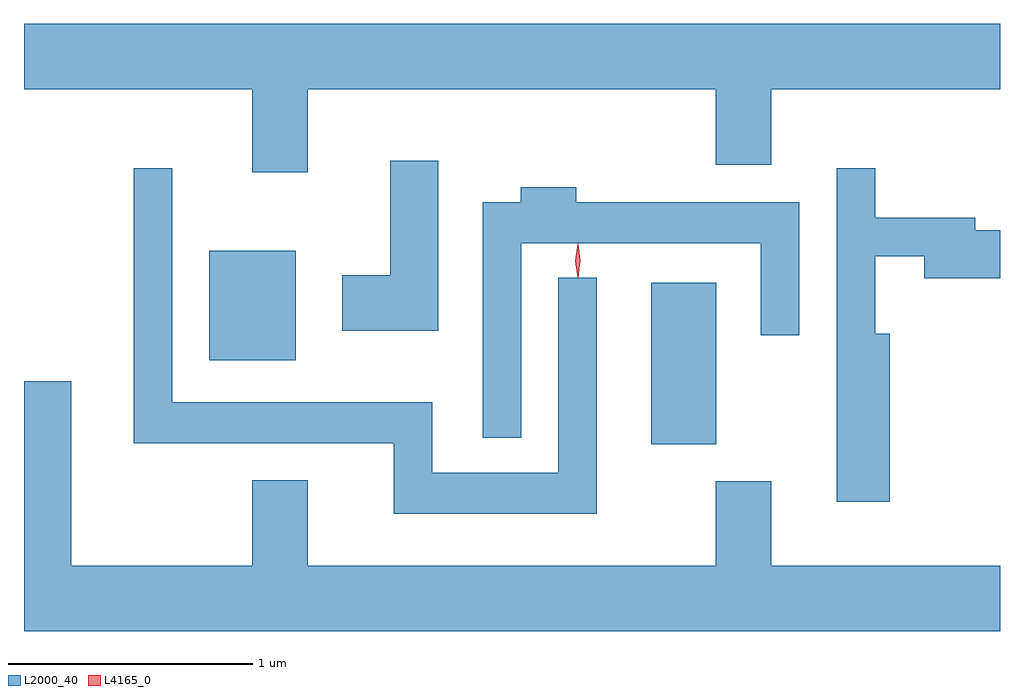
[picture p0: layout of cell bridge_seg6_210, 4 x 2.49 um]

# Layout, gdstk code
import gdstk
lib = gdstk.Library(unit=1e-6, precision=1e-09)
def R(c, l, rs):  # rectangles x0, y0, x1, y1
    for r in rs: c.add(gdstk.rectangle(r[:2], r[2:], *l))
def P(c, l, *ps):  # polygons
    for p in ps: c.add(gdstk.Polygon(p, *l))
L2000_40 = (2000, 40)
L4165_0 = (4165, 0)

bridge_seg6_210 = lib.new_cell('bridge_seg6_210')
R(bridge_seg6_210, L2000_40, [(1084.016,1555.241,1084.284,1555.904), (1082.206,1555.586,1082.559,1556.034)])
P(bridge_seg6_210, L2000_40, [(1082.609,1556.696),(1084.281,1556.696),(1084.281,1556.386),(1084.509,1556.386),(1084.509,1556.696),(1085.446,1556.696),(1085.446,1556.964),(1081.446,1556.964),(1081.446,1556.696),(1082.381,1556.696),(1082.381,1556.356),(1082.609,1556.356)],
  [(1083.144,1556.404),(1082.946,1556.404),(1082.946,1555.934),(1082.751,1555.934),(1082.751,1555.706),(1083.144,1555.706)],
  [(1083.794,1555.923),(1083.636,1555.923),(1083.636,1555.124),(1083.119,1555.124),(1083.119,1555.414),(1082.054,1555.414),(1082.054,1556.373),(1081.896,1556.373),(1081.896,1555.246),(1082.961,1555.246),(1082.961,1554.956),(1083.794,1554.956)],
  [(1084.994,1555.694),(1084.934,1555.694),(1084.934,1556.011),(1085.136,1556.011),(1085.136,1555.921),(1085.446,1555.921),(1085.446,1556.119),(1085.344,1556.119),(1085.344,1556.169),(1084.934,1556.169),(1084.934,1556.373),(1084.776,1556.373),(1084.776,1555.006),(1084.994,1555.006)],
  [(1083.484,1556.066),(1084.466,1556.066),(1084.466,1555.688),(1084.624,1555.688),(1084.624,1556.234),(1083.709,1556.234),(1083.709,1556.294),(1083.481,1556.294),(1083.481,1556.234),(1083.326,1556.234),(1083.326,1555.268),(1083.484,1555.268)],
  [(1085.446,1554.744),(1084.509,1554.744),(1084.509,1555.089),(1084.281,1555.089),(1084.281,1554.744),(1082.609,1554.744),(1082.609,1555.094),(1082.381,1555.094),(1082.381,1554.744),(1081.639,1554.744),(1081.639,1555.499),(1081.446,1555.499),(1081.446,1554.476),(1085.446,1554.476)])
P(bridge_seg6_210, L4165_0, [(1083.716,1555.924),(1083.716,1555.924),(1083.706,1555.993),(1083.716,1556.063),(1083.716,1556.063),(1083.717,1556.063),(1083.726,1555.993),(1083.717,1555.924)])

lib.write_gds('bridge_seg6_210.gds')
